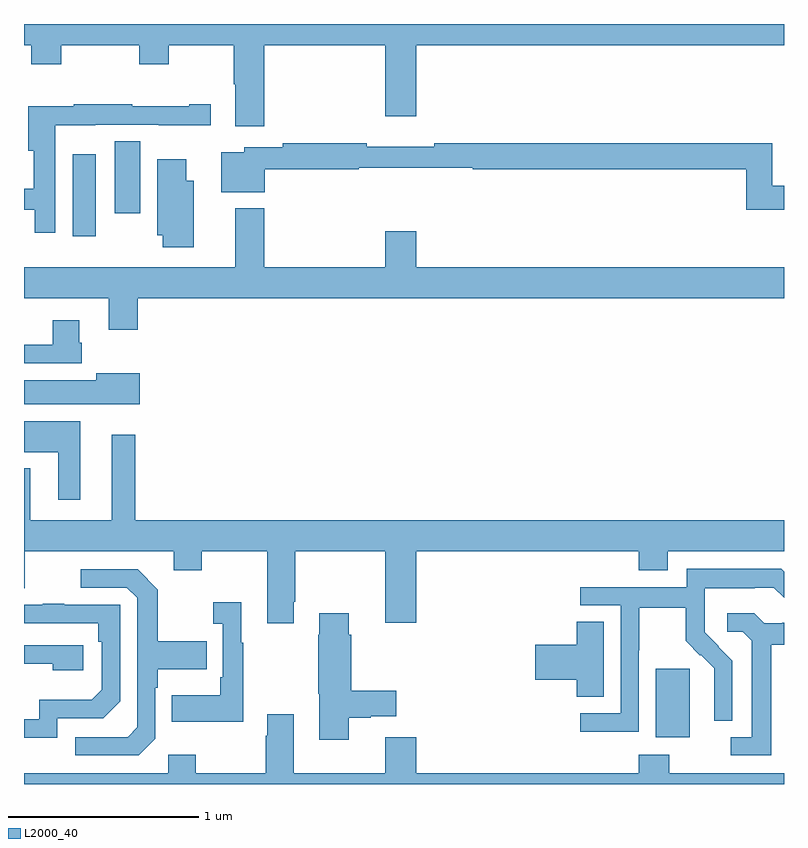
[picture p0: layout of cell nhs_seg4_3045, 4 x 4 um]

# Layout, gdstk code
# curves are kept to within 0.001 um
import gdstk
lib = gdstk.Library(unit=1e-6, precision=1e-09)
def R(c, l, rs):  # rectangles x0, y0, x1, y1
    for r in rs: c.add(gdstk.rectangle(r[:2], r[2:], *l))
def P(c, l, *ps):  # polygons
    for p in ps: c.add(gdstk.Polygon(p, *l))
L2000_40 = (2000, 40)

nhs_seg4_3045 = lib.new_cell('nhs_seg4_3045')
R(nhs_seg4_3045, L2000_40, [(274.325,825.146,274.504,825.507), (271.256,827.784,271.378,828.214), (271.478,827.904,271.612,828.284)])
P(nhs_seg4_3045, L2000_40, [(272.264,828.788),(272.9,828.788),(272.9,828.414),(273.064,828.414),(273.064,828.788),(275,828.788),(275,828.9),(271,828.9),(271,828.788),(271.037,828.788),(271.037,828.689),(271.197,828.689),(271.197,828.788),(271.606,828.788),(271.606,828.689),(271.761,828.689),(271.761,828.788),(272.104,828.788),(272.104,828.584),(272.111,828.584),(272.111,828.363),(272.264,828.363)],
  [(271.164,828.368),(271.374,828.368),(271.374,828.369),(271.708,828.369),(271.708,828.368),(271.984,828.368),(271.984,828.478),(271.871,828.478),(271.871,828.468),(271.571,828.468),(271.571,828.478),(271.261,828.478),(271.261,828.468),(271.022,828.468),(271.022,828.233),(271.052,828.233),(271.052,828.032),(271,828.032),(271,827.922),(271.056,827.922),(271.056,827.802),(271.164,827.802)],
  [(275,828.05),(274.937,828.05),(274.937,828.272),(273.16,828.272),(273.16,828.253),(272.804,828.253),(272.804,828.272),(272.362,828.272),(272.362,828.252),(272.16,828.252),(272.16,828.226),(272.039,828.226),(272.039,828.014),(272.266,828.014),(272.266,828.136),(272.762,828.136),(272.762,828.144),(273.362,828.144),(273.362,828.136),(274.801,828.136),(274.801,827.922),(275,827.922)],
  [(271.894,828.076),(271.855,828.076),(271.855,828.187),(271.7,828.187),(271.7,827.789),(271.729,827.789),(271.729,827.724),(271.894,827.724)],
  [(271.598,827.456),(275,827.456),(275,827.62),(273.064,827.62),(273.064,827.809),(272.9,827.809),(272.9,827.62),(272.264,827.62),(272.264,827.929),(272.111,827.929),(272.111,827.62),(271,827.62),(271,827.456),(271.445,827.456),(271.445,827.292),(271.598,827.292)],
  [(271.304,827.223),(271.291,827.223),(271.291,827.341),(271.151,827.341),(271.151,827.211),(271,827.211),(271,827.115),(271.304,827.115)],
  [(271.609,827.062),(271.379,827.062),(271.379,827.026),(271,827.026),(271,826.898),(271.609,826.898)],
  [(271.297,826.81),(271,826.81),(271,826.646),(271.181,826.646),(271.181,826.395),(271.297,826.395)],
  [(271.585,826.738),(271.463,826.738),(271.463,826.288),(271.033,826.288),(271.033,826.561),(271,826.561),(271,825.93),(271.003,825.93),(271.003,826.124),(271.787,826.124),(271.787,826.025),(271.935,826.025),(271.935,826.124),(272.279,826.124),(272.279,825.747),(272.419,825.747),(272.419,825.859),(272.427,825.859),(272.427,826.124),(272.9,826.124),(272.9,825.75),(273.064,825.75),(273.064,826.124),(274.235,826.124),(274.235,826.025),(274.387,826.025),(274.387,826.124),(275,826.124),(275,826.288),(271.585,826.288)],
  [(274.236,825.604),(274.239,825.604),(274.239,825.828),(274.483,825.828),(274.483,825.653),(274.56,825.576),(274.563,825.579),(274.634,825.509),(274.634,825.386),(274.632,825.386),(274.632,825.232),(274.728,825.232),(274.728,825.55),(274.582,825.698),(274.582,825.795),(274.584,825.795),(274.584,825.929),(274.847,825.929),(274.847,825.933),(274.947,825.933),(275,825.88),(275,826.018),(274.985,826.033),(274.488,826.033),(274.488,825.936),(273.927,825.936),(273.927,825.84),(274.14,825.84),(274.14,825.273),(273.927,825.273),(273.927,825.175),(274.236,825.175)],
  [(271.692,825.138),(271.692,825.407),(271.705,825.407),(271.705,825.503),(271.961,825.503),(271.961,825.651),(271.705,825.651),(271.705,825.923),(271.599,826.029),(271.299,826.029),(271.299,825.933),(271.542,825.933),(271.596,825.879),(271.596,825.198),(271.545,825.147),(271.269,825.147),(271.269,825.051),(271.605,825.051)],
  [(272.155,825.643),(272.143,825.643),(272.143,825.856),(271.995,825.856),(271.995,825.743),(272.046,825.743),(272.046,825.463),(272.034,825.463),(272.034,825.367),(271.777,825.367),(271.777,825.227),(272.155,825.227)],
  [(271.176,825.246),(271.416,825.246),(271.506,825.336),(271.506,825.843),(271.211,825.843),(271.211,825.848),(271.099,825.848),(271.099,825.843),(271,825.843),(271,825.747),(271.39,825.747),(271.39,825.65),(271.41,825.65),(271.41,825.396),(271.357,825.343),(271.08,825.343),(271.08,825.24),(271,825.24),(271,825.144),(271.176,825.144)],
  [(274.933,825.632),(275,825.632),(275,825.75),(274.99,825.75),(274.99,825.747),(274.896,825.747),(274.844,825.799),(274.701,825.799),(274.701,825.702),(274.782,825.702),(274.829,825.655),(274.829,825.147),(274.719,825.147),(274.719,825.051),(274.933,825.051)],
  [(272.71,825.25),(272.826,825.25),(272.826,825.257),(272.959,825.257),(272.959,825.392),(272.723,825.392),(272.723,825.686),(272.71,825.686),(272.71,825.799),(272.555,825.799),(272.555,825.686),(272.548,825.686),(272.548,825.375),(272.555,825.375),(272.555,825.132),(272.71,825.132)],
  [(274.051,825.755),(273.908,825.755),(273.908,825.632),(273.69,825.632),(273.69,825.449),(273.908,825.449),(273.908,825.358),(274.051,825.358)],
  [(271.312,825.63),(271,825.63),(271,825.534),(271.151,825.534),(271.151,825.5),(271.312,825.5)],
  [(275,824.956),(274.395,824.956),(274.395,825.055),(274.235,825.055),(274.235,824.956),(273.064,824.956),(273.064,825.145),(272.9,825.145),(272.9,824.956),(272.419,824.956),(272.419,825.268),(272.279,825.268),(272.279,825.155),(272.272,825.155),(272.272,824.956),(271.905,824.956),(271.905,825.055),(271.758,825.055),(271.758,824.956),(271,824.956),(271,824.9),(275,824.9)])

lib.write_gds('nhs_seg4_3045.gds')
